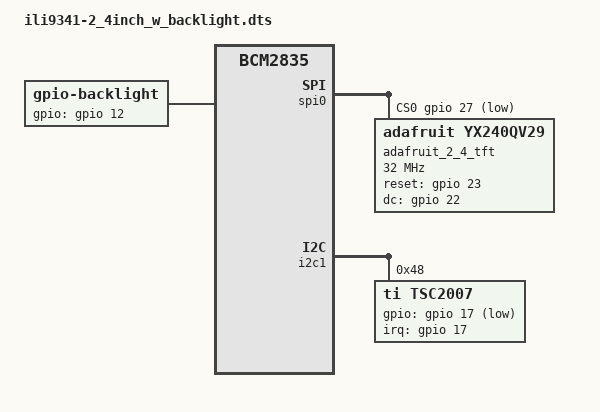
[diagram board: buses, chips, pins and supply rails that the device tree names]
/*
 * Device Tree overlay for Adafruit PiTFT 2.8" resistive touch screen
 *
 */

/dts-v1/;
/plugin/;

/ {
	compatible = "brcm,bcm2835";

	fragment@0 {
		target = <&spi0>;
		__overlay__ {
			status = "okay";
		};
	};

	fragment@2 {
		target = <&spidev0>;
		__overlay__ {
			status = "disabled";
		};
	};

	fragment@3 {
		target = <&spidev1>;
		__overlay__ {
			status = "disabled";
		};
	};

	fragment@4 {
		target = <&gpio>;
		__overlay__ {
			adafruit_2_4_tft_pins: adafruit_2_4_tft_pins {
				brcm,pins = <22 23 17 12>;
				brcm,function = <1 1 0 1>; /* out out in out*/
				brcm,pull = <0 0 1 2>; /* none none down up */
			};
		};
	};

	fragment@5 {
		target = <&spi0>;
		__overlay__ {
			/* needed to avoid dtc warning */
			#address-cells = <1>;
			#size-cells = <0>;
			cs-gpios = <&gpio 27 1>;

			adafruit_2_4_tft: adafruit_2_4_tft@0{
				compatible = "adafruit,yx240qv29";
				reg = <0>;
				pinctrl-names = "default";
				pinctrl-0 = <&adafruit_2_4_tft_pins>;

				spi-max-frequency = <32000000>;
				rotation = <90>;
				reset-gpios = <&gpio 23 0>;
				dc-gpios = <&gpio 22 0>;
			};
		};
	};

	fragment@7 {
		target = <&i2c1>;
		__overlay__ {
			#address-cells = <1>;
			#size-cells = <0>;

			status = "okay";

			tsc2007: tsc2007@48 {
				compatible = "ti,tsc2007";
				reg = <0x48>;
				touchscreen-swapped-x-y;
				touchscreen-inverted-x;
				touchscreen-min-x = <350>;
				touchscreen-size-x = <3700>;
				touchscreen-fuzz-x = <4>;
				touchscreen-min-y = <320>;
				touchscreen-size-y = <3700>;
				touchscreen-fuzz-y = <4>;
				touchscreen-min-pressure = <1000>;
				touchscreen-max-pressure = <3700>;
				touchscreen-fuzz-pressure = <4>;
				touchscreen-x-plate-ohms = <180>;
				
				panel = <&adafruit_2_4_tft>;
				pinctrl-0 = <&adafruit_2_4_tft_pins>;
				interrupt-parent = <&gpio>;
				interrupts = <17 2>;
				gpios = <&gpio 17 1>;
				
			};
		};
	};

	fragment@8 {
		target-path = "/soc";
		__overlay__ {
			backlight: backlight {
				compatible = "gpio-backlight";
				pinctrl-0 = <&adafruit_2_4_tft_pins>;
				gpios = <&gpio 12 2>;
				default-on;
			};
		};
	};

	__overrides__ {
		speed =     <&adafruit_2_4_tft>,"spi-max-frequency:0";
		rotate =    <&adafruit_2_4_tft>,"rotation:0";
		fps =       <&adafruit_2_4_tft>,"fps:0";
		debug =     <&adafruit_2_4_tft>,"debug:0";
		xohms =     <&tsc2007>,"touchscreen-x-plate-ohms;0";
		swapxy =    <&tsc2007>,"touchscreen-swapped-x-y?";
	};

};
